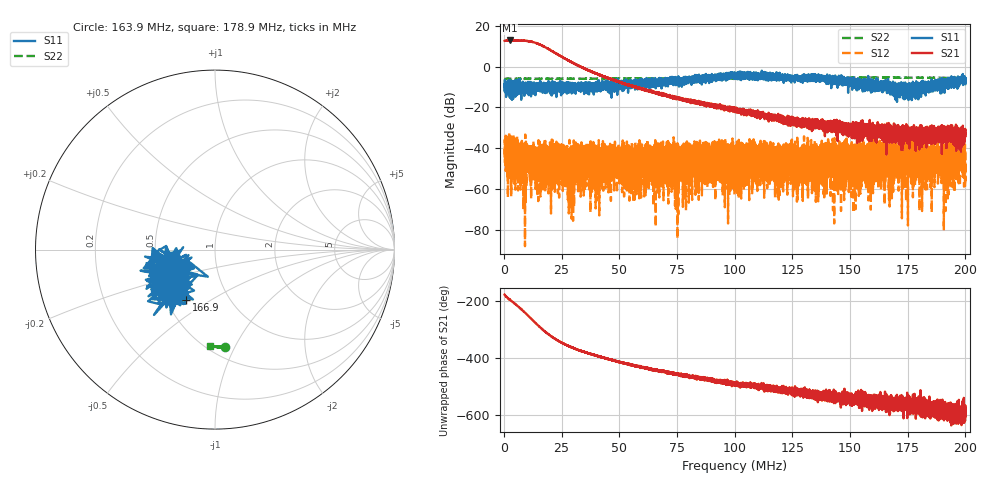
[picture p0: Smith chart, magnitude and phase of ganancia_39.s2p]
# Hz S DB R 50
! CMT, M5065, 19127446, 24.2.4/2
! Date: 10/29/2024 12:37:08 PM
! Data: Format (Calibration Info)
! Freq	S11:dB/Ang(F2)	S21:dB/Ang(F2)	S12:dB/Ang(F2)	S22:dB/Ang(F2)
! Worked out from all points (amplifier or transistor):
!   9000 points, 300 kHz to 200 MHz, reference 50 ohm
!   highest |S21| = 13.0 dB at 2.608 MHz (marker M1)
!   |S21| within 3 dB of that: start of sweep to 17.34 MHz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
!   unconditionally stable (mu >= 1): start of sweep to end of sweep
!   at 33.59 MHz: K = 53.75, MAG = 1.7 dB, |S12| = -44.2 dB
!   at 100.2 MHz: K = 662.97, MAG = -16.8 dB, |S12| = -48.9 dB
!   at 200 MHz: K = 1285.33, MAG = -29.9 dB, |S12| = -41.1 dB
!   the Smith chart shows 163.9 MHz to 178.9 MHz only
!   S11 on the Smith chart (normalised r, x): 163.9 MHz: 0.64, -0.19; 166.9 MHz: 0.63, -0.39; 178.9 MHz: 0.56, -0.13
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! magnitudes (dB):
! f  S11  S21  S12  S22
! 300 kHz  -8.6  12.8  -44.7  -5.9
! 2.608 MHz  -6.4  13.0  -42.5  -6.0
! 6.181 MHz  -9.8  12.8  -44.5  -5.9
! 8.932 MHz  -11.2  12.8  -53.9  -6.0
! 14.15 MHz  -10.6  11.6  -44.3  -5.9
! 26.55 MHz  -9.9  4.0  -58.7  -5.9
! 29.57 MHz  -7.9  2.2  -40.2  -5.9
! 33.59 MHz  -9.2  -0.2  -44.2  -5.9
! 66.87 MHz  -7.6  -13.2  -49.2  -5.7
! 100.2 MHz  -4.5  -20.1  -48.9  -5.7
! 133.4 MHz  -5.8  -29.6  -44.3  -5.4
! 151.1 MHz  -9.0  -32.8  -48.8  -5.3
! 152.4 MHz  -8.2  -27.3  -57.1  -5.3
! 163.9 MHz  -12.2  -30.6  -47.5  -5.3
! 166.7 MHz  -9.1  -33.1  -42.8  -5.3
! 166.9 MHz  -9.9  -33.6  -44.5  -5.3
! 178.9 MHz  -10.8  -33.7  -40.5  -5.4
! 187 MHz  -8.5  -33.4  -42.7  -5.4
! 191.6 MHz  -7.7  -33.0  -48.9  -5.4
! 193.8 MHz  -7.5  -31.4  -48.5  -5.5
! 199 MHz  -7.2  -32.5  -50.7  -5.5
! 200 MHz  -5.7  -32.7  -41.1  -5.5
